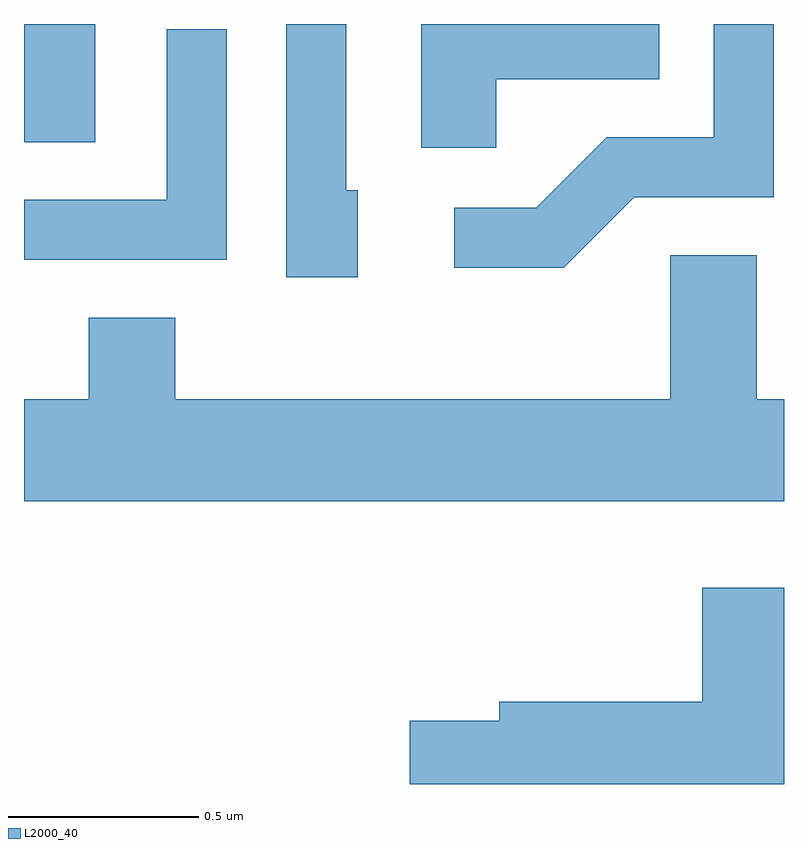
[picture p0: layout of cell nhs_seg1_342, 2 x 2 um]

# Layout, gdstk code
import gdstk
lib = gdstk.Library(unit=1e-6, precision=1e-09)
def R(c, l, rs):  # rectangles x0, y0, x1, y1
    for r in rs: c.add(gdstk.rectangle(r[:2], r[2:], *l))
def P(c, l, *ps):  # polygons
    for p in ps: c.add(gdstk.Polygon(p, *l))
L2000_40 = (2000, 40)

nhs_seg1_342 = lib.new_cell('nhs_seg1_342')
R(nhs_seg1_342, L2000_40, [(187.611,909.401,187.799,909.712)])
P(nhs_seg1_342, L2000_40, [(188.489,909.274),(188.459,909.274),(188.459,909.712),(188.301,909.712),(188.301,909.046),(188.489,909.046)],
  [(188.854,909.566),(189.283,909.566),(189.283,909.712),(188.656,909.712),(188.656,909.386),(188.854,909.386)],
  [(189.217,909.256),(189.584,909.256),(189.584,909.712),(189.426,909.712),(189.426,909.414),(189.144,909.414),(188.959,909.229),(188.743,909.229),(188.743,909.071),(189.032,909.071)],
  [(188.144,909.698),(187.986,909.698),(187.986,909.249),(187.611,909.249),(187.611,909.091),(188.144,909.091)],
  [(189.611,908.724),(189.539,908.724),(189.539,909.104),(189.311,909.104),(189.311,908.724),(188.009,908.724),(188.009,908.939),(187.781,908.939),(187.781,908.724),(187.611,908.724),(187.611,908.456),(189.611,908.456)],
  [(189.611,908.229),(189.396,908.229),(189.396,907.929),(188.861,907.929),(188.861,907.879),(188.626,907.879),(188.626,907.712),(189.611,907.712)])

lib.write_gds('nhs_seg1_342.gds')
